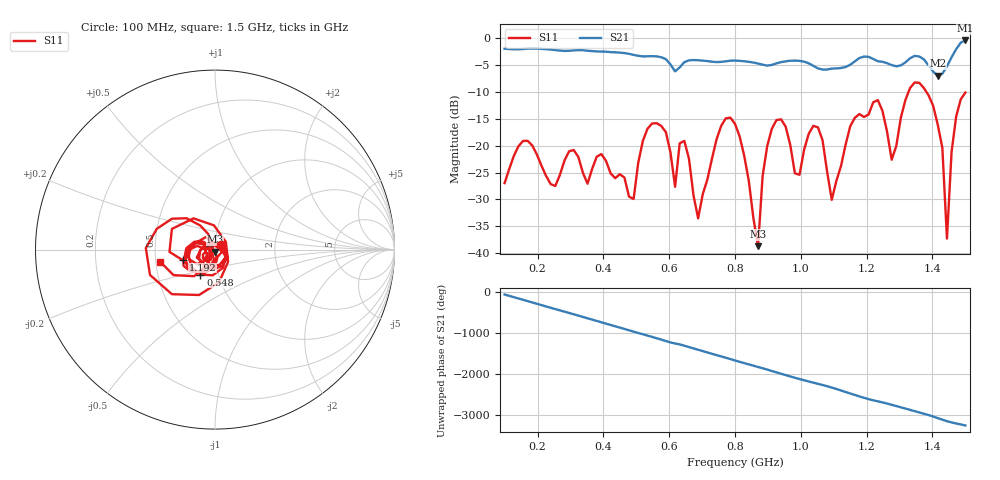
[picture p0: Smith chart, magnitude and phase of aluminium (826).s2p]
! NanoVNA-App
! Date: 2025-09-25 15:01:43
! Start: 100MHz Stop: 1,5GHz Points: 101
! S-Parameter data: F S11 S21 S12 S22
# Hz S RI R 50
!  Frequency  S11_Real  S11_Imag  S21_Real  S21_Imag  S12_Real  S12_Imag  S22_Real  S22_Imag
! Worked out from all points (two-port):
!   101 points, 100 MHz to 1.5 GHz, reference 50 ohm
!   highest |S21| = -0.38 dB at 1.5 GHz (marker M1); lowest = -7.0 dB at 1.416 GHz (marker M2)
!   |S21| within 3 dB of the highest: start of sweep to 565.2 MHz; 1.459 GHz to end of sweep (the widest 2 of 3)
!   lowest |S11| = -38.7 dB at 870 MHz (marker M3), VSWR 1.02, Z = 50.1 - j1.16 ohm
!   |S11| at or under -10 dB: start of sweep to 1.327 GHz; 1.382 GHz to end of sweep
!   S12 and S22 are empty: the file has one direction only
!   S11 on the Smith chart (normalised r, x): 100 MHz: 1.07, +0.06; 548 MHz: 0.82, -0.23; 1.192 GHz: 0.70, -0.08; 1.5 GHz: 0.53, -0.08
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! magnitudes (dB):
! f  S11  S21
! 100 MHz  -27.0  -1.9
! 156 MHz  -19.1  -2.0
! 338 MHz  -25.1  -2.2
! 492 MHz  -29.9  -3.1
! 548 MHz  -15.9  -3.3
! 576 MHz  -16.3  -3.5
! 618 MHz  -27.6  -6.1
! 646 MHz  -19.1  -4.4
! 688 MHz  -33.5  -4.1
! 800 MHz  -15.9  -4.1
! 870 MHz  -38.7  -4.7
! 912 MHz  -16.8  -4.9
! 996 MHz  -25.4  -4.2
! 1.038 GHz  -16.3  -5.1
! 1.094 GHz  -30.1  -5.6
! 1.192 GHz  -14.6  -3.4
! 1.276 GHz  -22.6  -5.0
! 1.346 GHz  -8.2  -3.2
! 1.416 GHz  -16.1  -7.0
! 1.444 GHz  -37.3  -5.2
! 1.458 GHz  -21.2  -3.5
! 1.5 GHz  -10.1  -0.4
